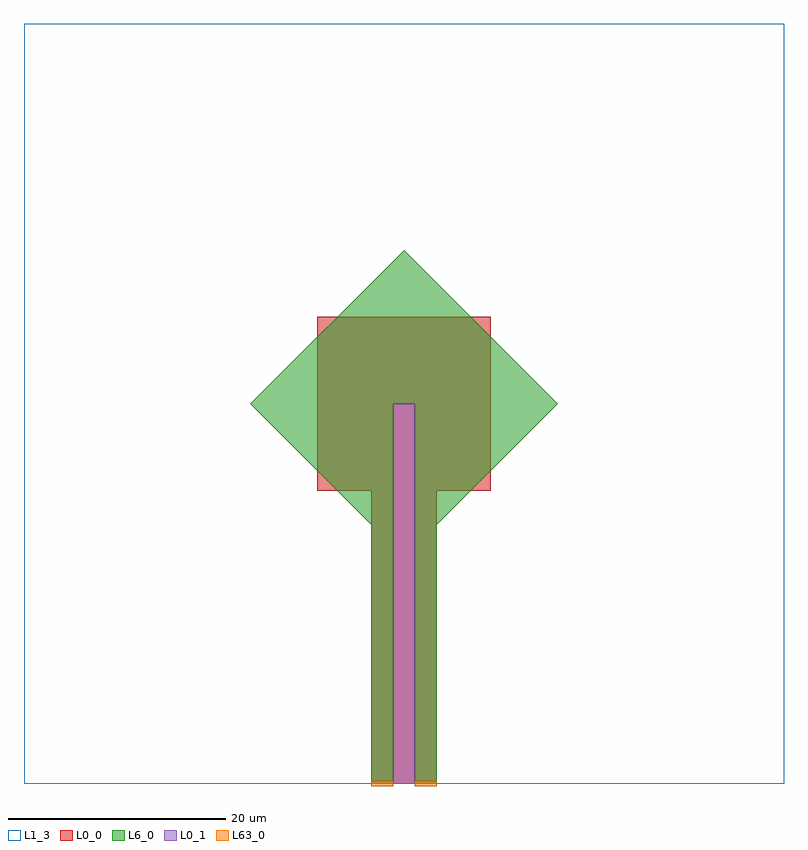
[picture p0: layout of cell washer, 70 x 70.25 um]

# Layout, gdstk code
import gdstk
lib = gdstk.Library(unit=1e-6, precision=1e-09)
def R(c, l, rs):  # rectangles x0, y0, x1, y1
    for r in rs: c.add(gdstk.rectangle(r[:2], r[2:], *l))
def P(c, l, *ps):  # polygons
    for p in ps: c.add(gdstk.Polygon(p, *l))
L0_0 = (0, 0)
L0_1 = (0, 1)
L1_3 = (1, 3)
L6_0 = (6, 0)
L63_0 = (63, 0)

washer = lib.new_cell('washer')
R(washer, L0_0, [(-8,-8,8,8)])
R(washer, L1_3, [(-35,-35,35,35)])
P(washer, L6_0, [(-3,-35),(-3,-11.142),(-14.142,0),(0,14.142),(14.142,0),(3,-11.142),(3,-35),(1,-35),(1,0),(-1,0),(-1,-35)])
washer.add(gdstk.FlexPath([(-3,-35),(-1,-35)], 0.5, ends="flush", simple_path=True, layer=63, datatype=0))  # L63_0
washer.add(gdstk.FlexPath([(1,-35),(3,-35)], 0.5, ends="flush", simple_path=True, layer=63, datatype=0))  # L63_0
washer.add(gdstk.FlexPath([(0,0),(0,-35)], 6, ends="flush", simple_path=True, layer=0, datatype=0))  # L0_0
washer.add(gdstk.FlexPath([(0,0),(0,-35)], 2, ends="flush", simple_path=True, layer=0, datatype=1))  # L0_1

lib.write_gds('washer.gds')
